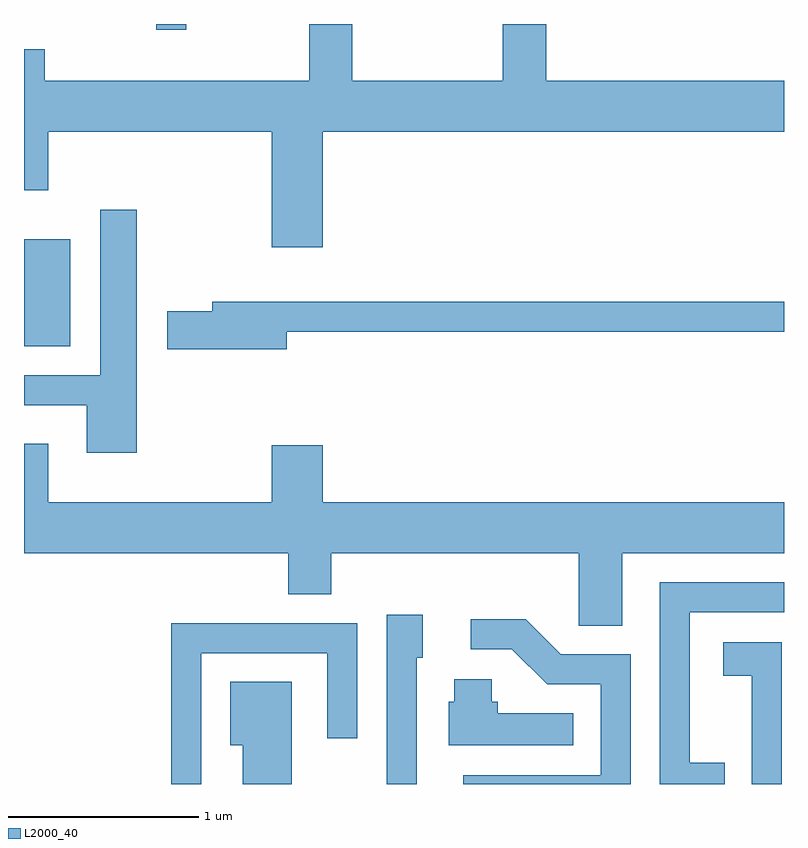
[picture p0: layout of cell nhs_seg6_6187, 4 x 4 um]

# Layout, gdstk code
import gdstk
lib = gdstk.Library(unit=1e-6, precision=1e-09)
def R(c, l, rs):  # rectangles x0, y0, x1, y1
    for r in rs: c.add(gdstk.rectangle(r[:2], r[2:], *l))
def P(c, l, *ps):  # polygons
    for p in ps: c.add(gdstk.Polygon(p, *l))
L2000_40 = (2000, 40)

nhs_seg6_6187 = lib.new_cell('nhs_seg6_6187')
R(nhs_seg6_6187, L2000_40, [(373.611,1544.466,373.854,1545.029), (374.306,1546.133,374.464,1546.162)])
P(nhs_seg6_6187, L2000_40, [(373.719,1546.029),(373.611,1546.029),(373.611,1545.286),(373.739,1545.286),(373.739,1545.596),(374.916,1545.596),(374.916,1544.986),(375.184,1544.986),(375.184,1545.596),(377.611,1545.596),(377.611,1545.864),(376.359,1545.864),(376.359,1546.162),(376.131,1546.162),(376.131,1545.864),(375.339,1545.864),(375.339,1546.162),(375.111,1546.162),(375.111,1545.864),(373.719,1545.864)],
  [(374.204,1545.184),(374.011,1545.184),(374.011,1544.314),(373.611,1544.314),(373.611,1544.156),(373.941,1544.156),(373.941,1543.906),(374.204,1543.906)],
  [(374.994,1544.541),(377.611,1544.541),(377.611,1544.699),(374.601,1544.699),(374.601,1544.649),(374.366,1544.649),(374.366,1544.451),(374.994,1544.451)],
  [(376.759,1543.376),(377.611,1543.376),(377.611,1543.644),(375.184,1543.644),(375.184,1543.944),(374.916,1543.944),(374.916,1543.644),(373.739,1543.644),(373.739,1543.954),(373.611,1543.954),(373.611,1543.376),(375.001,1543.376),(375.001,1543.161),(375.229,1543.161),(375.229,1543.376),(376.531,1543.376),(376.531,1542.996),(376.759,1542.996)],
  [(377.298,1542.274),(377.114,1542.274),(377.114,1543.066),(377.611,1543.066),(377.611,1543.224),(376.956,1543.224),(376.956,1542.162),(377.298,1542.162)],
  [(375.679,1542.826),(375.709,1542.826),(375.709,1543.054),(375.521,1543.054),(375.521,1542.162),(375.679,1542.162)],
  [(376.804,1542.844),(376.437,1542.844),(376.252,1543.029),(375.963,1543.029),(375.963,1542.871),(376.179,1542.871),(376.364,1542.686),(376.646,1542.686),(376.646,1542.209),(375.923,1542.209),(375.923,1542.162),(376.804,1542.162)],
  [(374.544,1542.851),(375.206,1542.851),(375.206,1542.403),(375.364,1542.403),(375.364,1543.009),(374.386,1543.009),(374.386,1542.162),(374.544,1542.162)],
  [(377.599,1542.909),(377.291,1542.909),(377.291,1542.731),(377.441,1542.731),(377.441,1542.162),(377.599,1542.162)],
  [(376.503,1542.534),(376.104,1542.534),(376.104,1542.594),(376.074,1542.594),(376.074,1542.714),(375.876,1542.714),(375.876,1542.594),(375.846,1542.594),(375.846,1542.366),(376.503,1542.366)],
  [(375.019,1542.699),(374.696,1542.699),(374.696,1542.366),(374.761,1542.366),(374.761,1542.162),(375.019,1542.162)])

lib.write_gds('nhs_seg6_6187.gds')
